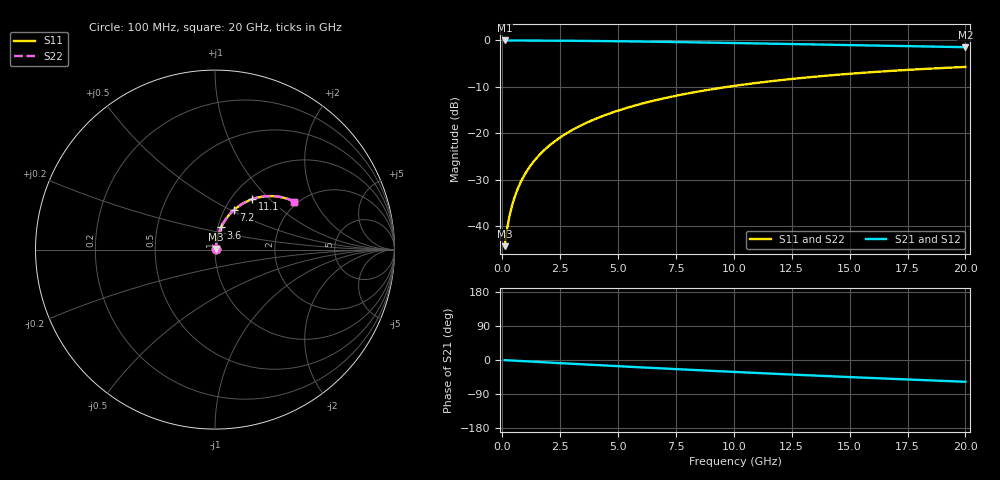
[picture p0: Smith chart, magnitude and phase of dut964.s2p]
! Touchstone file exported from HFSS 2026.1.0
!  File:  C:/ffzhzh/LocalFiles/Ansys_Project_Files/temp_train_TMRDL_964_1783158907_43440.aedt
!  Generated:  05:56:45 PM Jul  4, 2026
!  Design:  TMRDL
!  Project:  temp_train_TMRDL_964_1783158907_43440
! Variables:
!  h_bsmrdl = 2um
!  h_ox = 20um
!  h_rdl = 5um
!  h_sub = 80um
!  h_tmrdl = 3.67um
!  h_tsv = 80um
!  h_via = 3um
!  l_bsmrdl = 300um
!  l_sub = 1276.58um
!  l_tmrdl = 876.58um
!  m_sub = 200um
!  pitch = 48.22um
!  r_tsv = 6um
!  s_tmrdl = 10um
!  w_bsmrdl = 18um
!  w_sub = 500um
!  w_tmrdl = 18.58um
!  x_tsv_center1 = 885.87um
!  x_tsv_center2 = 1203.87um
!  x_tsv_center3 = 2099.03um
!  x_tsv_center4 = 2417.03um
!  x_tsv_center5 = 3312.19um
!  x_tsv_center6 = 3630.19um
# GHz S MA R 50.000000
! Terminal data exported
! Port[1] = TM_RDL1_1_T1
! Port[2] = TM_RDL1_1_T2
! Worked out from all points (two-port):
!   200 points, 100 MHz to 20 GHz, reference 50 ohm
!   highest |S21| = -0.04 dB at 100 MHz (marker M1); lowest = -1.5 dB at 20 GHz (marker M2)
!   |S21| within 3 dB of the highest: start of sweep to end of sweep
!   lowest |S11| = -44.3 dB at 100 MHz (marker M3), VSWR 1.01, Z = 50.5 + j0.39 ohm
!   |S11| at or under -10 dB: start of sweep to 9.764 GHz
!   |S22| runs from -44.3 to -5.7 dB; largest |S21 - S12| = 8e-15
!   S11 on the Smith chart (normalised r, x): 100 MHz: 1.01, +0.01; 3.6 GHz: 1.04, +0.26; 7.2 GHz: 1.11, +0.52; 11.1 GHz: 1.24, +0.80; 20 GHz: 1.92, +1.40
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0.1  0.006078 39.5  0.9953 -0.3  0.9953 -0.3  0.006078 39.5
! Gamma 0 0 0 0
! Port Impedance 50 0 50 0
0.2  0.009093 57.2  0.9951 -0.7  0.9951 -0.7  0.009093 57.2
0.3  0.01247 65.2  0.9949 -1.0  0.9949 -1.0  0.01247 65.2
0.4  0.01592 69.6  0.9947 -1.4  0.9947 -1.4  0.01592 69.6
0.5  0.01939 72.4  0.9945 -1.7  0.9945 -1.7  0.01939 72.4
0.6  0.02288 74.2  0.9943 -2.0  0.9943 -2.0  0.02288 74.2
0.8  0.02991 76.5  0.994 -2.7  0.994 -2.7  0.02991 76.5
1.1  0.04051 78.1  0.9934 -3.7  0.9934 -3.7  0.04051 78.2
1.5  0.0547 78.7  0.9926 -5.0  0.9926 -5.0  0.0547 78.8
2.1  0.07595 78.3  0.9908 -7.0  0.9908 -7.0  0.07595 78.3
2.7  0.09703 77.1  0.9886 -8.9  0.9886 -8.9  0.09703 77.2
3.5  0.1247 75.1  0.985 -11.5  0.985 -11.5  0.1247 75.2
3.6  0.1281 74.9  0.9845 -11.8  0.9845 -11.8  0.1281 74.9
5  0.175 70.9  0.9762 -16.3  0.9762 -16.3  0.175 70.9
6.8  0.2318 65.6  0.9629 -21.9  0.9629 -21.9  0.2318 65.7
7.2  0.2439 64.5  0.9597 -23.1  0.9597 -23.1  0.2439 64.5
8.6  0.2845 60.4  0.9476 -27.3  0.9476 -27.3  0.2845 60.5
10.1  0.325 56.2  0.9338 -31.7  0.9338 -31.7  0.325 56.2
11.1  0.3503 53.4  0.9243 -34.6  0.9243 -34.6  0.3503 53.5
13.4  0.4032 47.2  0.902 -40.9  0.902 -40.9  0.4032 47.3
16.7  0.4667 38.9  0.8708 -49.4  0.8708 -49.4  0.4666 39.0
20  0.5165 31.1  0.8426 -57.4  0.8426 -57.4  0.5164 31.2
